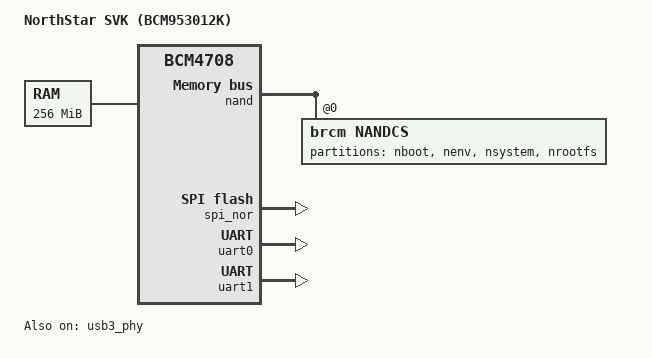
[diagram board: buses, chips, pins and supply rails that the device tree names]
/*
 *  BSD LICENSE
 *
 *  Copyright(c) 2015 Broadcom Corporation.  All rights reserved.
 *
 *  Redistribution and use in source and binary forms, with or without
 *  modification, are permitted provided that the following conditions
 *  are met:
 *
 *    * Redistributions of source code must retain the above copyright
 *      notice, this list of conditions and the following disclaimer.
 *    * Redistributions in binary form must reproduce the above copyright
 *      notice, this list of conditions and the following disclaimer in
 *      the documentation and/or other materials provided with the
 *      distribution.
 *    * Neither the name of Broadcom Corporation nor the names of its
 *      contributors may be used to endorse or promote products derived
 *      from this software without specific prior written permission.
 *
 *  THIS SOFTWARE IS PROVIDED BY THE COPYRIGHT HOLDERS AND CONTRIBUTORS
 *  "AS IS" AND ANY EXPRESS OR IMPLIED WARRANTIES, INCLUDING, BUT NOT
 *  LIMITED TO, THE IMPLIED WARRANTIES OF MERCHANTABILITY AND FITNESS FOR
 *  A PARTICULAR PURPOSE ARE DISCLAIMED. IN NO EVENT SHALL THE COPYRIGHT
 *  OWNER OR CONTRIBUTORS BE LIABLE FOR ANY DIRECT, INDIRECT, INCIDENTAL,
 *  SPECIAL, EXEMPLARY, OR CONSEQUENTIAL DAMAGES (INCLUDING, BUT NOT
 *  LIMITED TO, PROCUREMENT OF SUBSTITUTE GOODS OR SERVICES; LOSS OF USE,
 *  DATA, OR PROFITS; OR BUSINESS INTERRUPTION) HOWEVER CAUSED AND ON ANY
 *  THEORY OF LIABILITY, WHETHER IN CONTRACT, STRICT LIABILITY, OR TORT
 *  (INCLUDING NEGLIGENCE OR OTHERWISE) ARISING IN ANY WAY OUT OF THE USE
 *  OF THIS SOFTWARE, EVEN IF ADVISED OF THE POSSIBILITY OF SUCH DAMAGE.
 */

/dts-v1/;

#include "bcm4708.dtsi"

/ {
	model = "NorthStar SVK (BCM953012K)";
	compatible = "brcm,bcm953012k", "brcm,brcm53012", "brcm,bcm4708";

	aliases {
		serial0 = &uart0;
		serial1 = &uart1;
	};

	memory {
		reg = <0x80000000 0x10000000>;
	};
};

&nand {
	nandcs@0 {
		compatible = "brcm,nandcs";
		reg = <0>;
		nand-on-flash-bbt;

		#address-cells = <1>;
		#size-cells = <1>;

		nand-ecc-strength = <4>;
		nand-ecc-step-size = <512>;

		partition@0 {
			label = "nboot";
			reg = <0x00000000 0x00200000>;
			read-only;
		};
		partition@200000 {
			label = "nenv";
			reg = <0x00200000 0x00400000>;
		};
		partition@600000 {
			label = "nsystem";
			reg = <0x00600000 0x00a00000>;
		};
		partition@1000000 {
			label = "nrootfs";
			reg = <0x01000000 0x07000000>;
		};
	};
};

&spi_nor {
	status = "okay";
	spi-max-frequency = <62500000>;
	m25p,default-addr-width = <3>;

	#address-cells = <1>;
	#size-cells = <1>;

	partition@0 {
		label = "boot";
		reg = <0x00000000 0x000d0000>;
	};
	partition@d000 {
		label = "env";
		reg = <0x000d0000 0x00030000>;
	};
	partition@100000 {
		label = "system";
		reg = <0x00100000 0x00600000>;
	};
	partition@700000 {
		label = "rootfs";
		reg = <0x00700000 0x00900000>;
	};
};

&uart0 {
	status = "okay";
};

&uart1 {
	status = "okay";
};

&usb3_phy {
	status = "okay";
};
